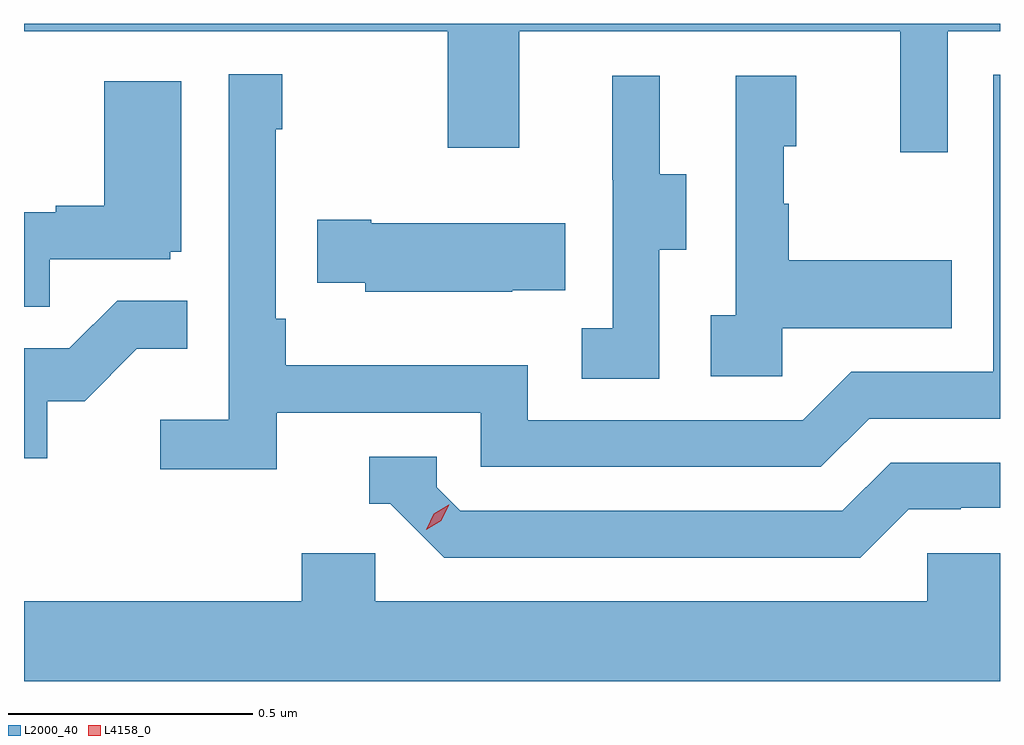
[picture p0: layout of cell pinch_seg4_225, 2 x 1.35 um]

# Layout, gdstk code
import gdstk
lib = gdstk.Library(unit=1e-6, precision=1e-09)
def P(c, l, *ps):  # polygons
    for p in ps: c.add(gdstk.Polygon(p, *l))
L2000_40 = (2000, 40)
L4158_0 = (4158, 0)

pinch_seg4_225 = lib.new_cell('pinch_seg4_225')
P(pinch_seg4_225, L2000_40, [(1000.017,832.784),(1000.124,832.784),(1000.124,832.799),(998.124,832.799),(998.124,832.784),(998.992,832.784),(998.992,832.545),(999.139,832.545),(999.139,832.784),(999.92,832.784),(999.92,832.536),(1000.017,832.536)],
  [(998.642,832.002),(999.06,832.002),(999.06,831.891),(999.757,831.891),(999.856,831.99),(1000.124,831.99),(1000.124,832.695),(1000.11,832.695),(1000.11,832.086),(999.819,832.086),(999.72,831.987),(999.156,831.987),(999.156,832.099),(998.66,832.099),(998.66,832.195),(998.64,832.195),(998.64,832.583),(998.653,832.583),(998.653,832.696),(998.544,832.696),(998.544,831.988),(998.403,831.988),(998.403,831.886),(998.642,831.886)],
  [(999.678,832.175),(1000.025,832.175),(1000.025,832.315),(999.691,832.315),(999.691,832.43),(999.681,832.43),(999.681,832.548),(999.706,832.548),(999.706,832.693),(999.582,832.693),(999.582,832.202),(999.531,832.202),(999.531,832.077),(999.678,832.077)],
  [(999.426,832.336),(999.481,832.336),(999.481,832.491),(999.427,832.491),(999.427,832.693),(999.329,832.693),(999.329,832.479),(999.33,832.479),(999.33,832.175),(999.267,832.175),(999.267,832.072),(999.426,832.072)],
  [(998.177,832.317),(998.424,832.317),(998.424,832.332),(998.446,832.332),(998.446,832.681),(998.288,832.681),(998.288,832.426),(998.189,832.426),(998.189,832.413),(998.124,832.413),(998.124,832.219),(998.177,832.219)],
  [(999.125,832.253),(999.233,832.253),(999.233,832.39),(998.836,832.39),(998.836,832.398),(998.725,832.398),(998.725,832.268),(998.823,832.268),(998.823,832.25),(999.125,832.25)],
  [(998.172,832.026),(998.248,832.026),(998.355,832.133),(998.459,832.133),(998.459,832.232),(998.315,832.232),(998.217,832.134),(998.124,832.134),(998.124,831.909),(998.172,831.909)],
  [(999.937,831.804),(1000.044,831.804),(1000.044,831.807),(1000.124,831.807),(1000.124,831.9),(999.9,831.9),(999.801,831.801),(999.018,831.801),(998.97,831.849),(998.97,831.912),(998.831,831.912),(998.831,831.816),(998.874,831.816),(998.985,831.705),(999.838,831.705)],
  [(1000.124,831.714),(999.975,831.714),(999.975,831.616),(998.844,831.616),(998.844,831.714),(998.693,831.714),(998.693,831.616),(998.124,831.616),(998.124,831.452),(1000.124,831.452)])
P(pinch_seg4_225, L4158_0, [(998.948,831.762),(998.948,831.762),(998.964,831.795),(998.994,831.814),(998.995,831.814),(998.995,831.814),(998.979,831.781),(998.948,831.762)])

lib.write_gds('pinch_seg4_225.gds')
